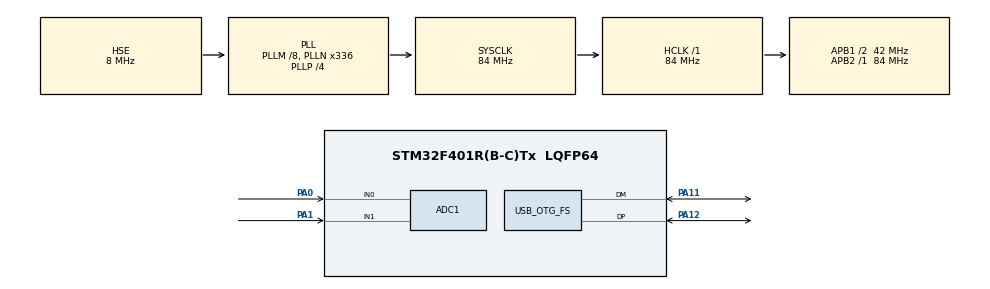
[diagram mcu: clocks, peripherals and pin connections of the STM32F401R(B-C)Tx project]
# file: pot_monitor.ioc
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ADC1.Channel-0\#ChannelRegularConversion=ADC_CHANNEL_0
ADC1.ClockPrescaler=ADC_CLOCK_SYNC_PCLK_DIV8
ADC1.NbrOfConversionFlag=1
ADC1.Rank-0\#ChannelRegularConversion=1
ADC1.SamplingTime-0\#ChannelRegularConversion=ADC_SAMPLETIME_3CYCLES
ADC1.master=1
Mcu.Family=STM32F4
Mcu.Name=STM32F401R(B-C)Tx
Mcu.Package=LQFP64
NVIC.OTG_FS_IRQn=true\:0\:0\:false\:false\:true\:true\:true\:true
NVIC.PriorityGroup=NVIC_PRIORITYGROUP_4
PA0-WKUP.Signal=ADCx_IN0
PA1.Signal=ADCx_IN1
PA11.Mode=Device_Only
PA11.Signal=USB_OTG_FS_DM
PA12.Mode=Device_Only
PA12.Signal=USB_OTG_FS_DP
PH0\ -\ OSC_IN.Mode=HSE-External-Oscillator
PH0\ -\ OSC_IN.Signal=RCC_OSC_IN
PH1\ -\ OSC_OUT.Mode=HSE-External-Oscillator
PH1\ -\ OSC_OUT.Signal=RCC_OSC_OUT
ProjectManager.HeapSize=0x200
ProjectManager.StackSize=0x400
ProjectManager.TargetToolchain=STM32CubeIDE
RCC.48MHZClocksFreq_Value=48000000
RCC.AHBFreq_Value=84000000
RCC.APB1CLKDivider=RCC_HCLK_DIV2
RCC.APB1Freq_Value=42000000
RCC.APB1TimFreq_Value=84000000
RCC.APB2Freq_Value=84000000
RCC.APB2TimFreq_Value=84000000
RCC.CortexFreq_Value=84000000
RCC.HCLKFreq_Value=84000000
RCC.HSE_VALUE=8000000
RCC.HSI_VALUE=16000000
RCC.LSE_VALUE=32768
RCC.PLLM=8
RCC.PLLN=336
RCC.PLLP=RCC_PLLP_DIV4
RCC.PLLQ=7
RCC.SYSCLKFreq_VALUE=84000000
RCC.SYSCLKSource=RCC_SYSCLKSOURCE_PLLCLK
RCC.VCOOutputFreq_Value=336000000
SH.ADCx_IN0.0=ADC1_IN0,IN0
SH.ADCx_IN1.0=ADC1_IN1,IN1
USB_DEVICE.CLASS_NAME_FS=CDC
USB_DEVICE.VirtualMode=Cdc
USB_DEVICE.VirtualModeFS=Cdc_FS
USB_OTG_FS.VirtualMode=Device_Only
VP_USB_DEVICE_VS_USB_DEVICE_CDC_FS.Mode=CDC_FS
board=custom

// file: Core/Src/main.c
/* USER CODE BEGIN Header */
/**
  ******************************************************************************
  * @file           : main.c
  * @brief          : Main program body
  ******************************************************************************
  * @attention
  *
  * Copyright (c) 2026 STMicroelectronics.
  * All rights reserved.
  *
  * This software is licensed under terms that can be found in the LICENSE file
  * in the root directory of this software component.
  * If no LICENSE file comes with this software, it is provided AS-IS.
  *
  ******************************************************************************
  */
/* USER CODE END Header */
#include "main.h"
#include "usb_device.h"

/* USER CODE BEGIN Includes */
#include <stdio.h>
#include <stdarg.h>
#include "usbd_cdc_if.h"
/* USER CODE END Includes */

/* USER CODE BEGIN PD */
#define ADC_MAX_VALUE   4095U   /* 12-bit resolution */
#define VREF_MV         3300U   /* VDDA = 3.3 V */

/* --- 최대/최소 캘리브레이션 (터미널 키: '0'=PA0만, '1'=PA1만, 'c'=둘 다 동시) ---
 *   1구간: 가변저항을 한쪽 끝에 고정 → 구간 평균값
 *   2구간: 반대쪽 끝에 고정        → 구간 평균값
 * 두 값 중 작은 쪽이 min, 큰 쪽이 max. (순서 무관)
 * 'c'(동시)일 때는 두 손잡이를 같은 타이밍에 끝으로 돌려 놓으면 된다.
 * 각 구간 = 제외 시간(손잡이 옮기는 동안, 평균에 안 넣음) + 측정 시간(평균에 넣음).
 */
#define CALIB_SETTLE_MS     2000U   /* 구간 앞부분: 평균에서 제외 (손잡이 이동 시간) */
#define CALIB_MEASURE_MS    5000U   /* 구간 뒷부분: 실제 측정·평균 */
#define CALIB_PHASE_MS      (CALIB_SETTLE_MS + CALIB_MEASURE_MS)   /* 각 구간 총 길이 = 7초 */
#define CALIB_SAMPLE_MS     10U     /* 구간 내 샘플 주기 */
#define CALIB_REPORT_MS     500U    /* 진행 상황 출력 주기 */

/* --- 노이즈 필터 (중앙값3 → EMA) ---
 * 1단: 최근 3샘플의 중앙값 → 단발 스파이크 제거
 * 2단: 1차 저역통과 filt += (med - filt)/8 → 잔노이즈 평활 (실측: σ 5.8 → 약 1.5)
 * 출력의 flt0/flt1이 필터 결과. 반응 속도를 높이려면 SHIFT를 2(=/4)로 낮출 것. */
#define FILT_EMA_SHIFT      6U      /* EMA 분모 = 2^6 = 64. 1kHz 기준 τ≈64ms */

/* --- 클럭 자동 설정 ---
 * 보드 크리스탈(HSE) 주파수를 부팅 시 직접 측정해서 PLL을 맞춘다.
 * 목표: SYSCLK 84 MHz, USB 48 MHz.  (PLLN=336, PLLP=4, PLLQ=7, PLLM=HSE[MHz])
 */
#define TARGET_SYSCLK_HZ    84000000U   /* 현재 84 MHz. 바꿀 때는 아래 조합표 값으로 PLL 두 곳도 함께 */
/* --- 주파수 변경용 유효 조합표 (USB 48 MHz 유지 필수) ---
 * 규칙: SYSCLK = PLLN÷PLLP, USB = PLLN÷PLLQ = 48  (VCO 입력 1 MHz 기준)
 * PLLN/PLLP/PLLQ는 SystemClock_Config_Auto()의 2)블록과 4)블록에 "같은 값"으로 넣을 것.
 *
 *  SYSCLK        TARGET_SYSCLK_HZ    PLLN   PLLP             PLLQ
 *  84 MHz(현재)  84000000U           336    RCC_PLLP_DIV4    7
 *  72 MHz        72000000U           288    RCC_PLLP_DIV4    6
 *  64 MHz        64000000U           384    RCC_PLLP_DIV6    8
 *  60 MHz        60000000U           240    RCC_PLLP_DIV4    5
 *  56 MHz        56000000U           336    RCC_PLLP_DIV6    7
 *  48 MHz        48000000U           192    RCC_PLLP_DIV4    4
 *  42 MHz        42000000U           336    RCC_PLLP_DIV8    7
 *
 * 제약: SYSCLK ≤ 84 MHz, PLLN(=VCO) 192~432 → 위 조합 외 임의 값은 불가.
 * 변경 후: Ctrl+B → flash.bat → 터미널에서 'i' 키로 sysclk 확인.
 */
#define HSE_MEAS_RTCPRE     25U     /* 측정용 분주: HSE_RTC = HSE / 25 */
#define HSE_MEAS_CAPTURES   64U     /* 캡처 횟수 (IC 프리스케일러 8 → 512 에지) */
/* USER CODE END PD */

ADC_HandleTypeDef hadc1;

/* USER CODE BEGIN PV */
/* raw = ADC가 읽은 원시값 (12비트, 0~4095).
 *       핀 전압에 비례: 0 V → 0, 3.3 V → 4095. 가변저항 위치를 나타내는 기본 값.
 * mv  = raw를 사람이 읽기 쉬운 전압 [밀리볼트]로 환산한 값.
 *       mv = raw × 3300 ÷ 4095  (0~3300 mV = 0~3.3 V). 표시용일 뿐 원본은 raw. */
volatile uint16_t adc_raw = 0;      /* PA0 (ADC1_IN0) 원시값, 0 ~ 4095 */
volatile uint32_t adc_mv  = 0;      /* PA0 전압 [mV], 0 ~ 3300 */

volatile uint16_t adc_raw1 = 0;     /* PA1 (ADC1_IN1) 원시값, 0 ~ 4095 — 두 번째 가변저항 */
volatile uint32_t adc_mv1  = 0;     /* PA1 전압 [mV], 0 ~ 3300 */

volatile uint16_t adc_flt  = 0;     /* PA0 필터(중앙값3→EMA) 출력 */
volatile uint16_t adc_flt1 = 0;     /* PA1 필터 출력 */

volatile uint16_t adc_min0    = 0;          /* PA0 캘리브레이션 결과 (calib_done0=1일 때 유효) */
volatile uint16_t adc_max0    = ADC_MAX_VALUE;
volatile uint8_t  calib_done0 = 0;

volatile uint16_t adc_min1    = 0;          /* PA1 캘리브레이션 결과 (calib_done1=1일 때 유효) */
volatile uint16_t adc_max1    = ADC_MAX_VALUE;
volatile uint8_t  calib_done1 = 0;

volatile uint8_t  cdc_last_cmd = 0;         /* 터미널에서 마지막으로 받은 명령 문자 (usbd_cdc_if.c가 씀) */

volatile uint32_t hse_hz_measured = 0;      /* 측정된 HSE 주파수 [Hz], 0이면 HSE 미사용 */
volatile uint8_t  clk_src_is_hse  = 0;      /* 1: PLL 소스 HSE, 0: HSI (USB 불안정 가능) */
static char       tx_buf[128];              /* USB CDC 송신 버퍼 */

extern USBD_HandleTypeDef hUsbDeviceFS;     /* usb_device.c */
/* USER CODE END PV */

void SystemClock_Config(void);
static void MX_GPIO_Init(void);
static void MX_ADC1_Init(void);
/* USER CODE BEGIN PFP */
static uint16_t ADC_ReadChannel(uint32_t channel, uint32_t sampling_time);
static uint16_t Median3(uint16_t a, uint16_t b, uint16_t c);
static uint16_t Filter_Update(uint8_t ch, uint16_t raw);
static void     ADC_AverageFor(uint32_t duration_ms, uint8_t step, uint8_t ch_mask,
                               uint16_t *avg0, uint16_t *avg1);
static void     ADC_Calibrate(uint8_t ch_mask);
static void     CDC_Printf(const char *fmt, ...);
static uint32_t HSE_MeasureHz(void);
static void     SystemClock_Config_Auto(void);
/* USER CODE END PFP */

int main(void)
{

  /* MCU Configuration--------------------------------------------------------*/

  /* Reset of all peripherals, Initializes the Flash interface and the Systick. */
  HAL_Init();

  /* USER CODE BEGIN SysInit */
  /* CubeMX가 생성한 SystemClock_Config()는 호출하지 않고(Project Manager에서 호출 비활성),
   * HSE 주파수를 실측해 PLL을 맞추는 버전을 대신 사용한다. */
  SystemClock_Config_Auto();
  /* USER CODE END SysInit */

  /* Initialize all configured peripherals */
  MX_GPIO_Init();
  MX_ADC1_Init();
  MX_USB_DEVICE_Init();

  /* Infinite loop */
  while (1)
  {

    /* USER CODE BEGIN 3 */
    /* 터미널에서 온 명령 처리 */
    switch (cdc_last_cmd)
    {
      case 'c': case 'C':                   /* 둘 다 동시에 */
        cdc_last_cmd = 0;
        ADC_Calibrate(0x03U);
        break;
      case '0':                             /* PA0만 */
        cdc_last_cmd = 0;
        ADC_Calibrate(0x01U);
        break;
      case '1':                             /* PA1만 */
        cdc_last_cmd = 0;
        ADC_Calibrate(0x02U);
        break;
      case 'i': case 'I':
        cdc_last_cmd = 0;
        CDC_Printf("info: hse=%lu kHz (%s), sysclk=%lu Hz, calib0=%s calib1=%s\r\n",
                   (unsigned long)(hse_hz_measured / 1000U),
                   clk_src_is_hse ? "PLL from HSE" : "PLL from HSI",
                   (unsigned long)SystemCoreClock,
                   calib_done0 ? "done" : "not yet",
                   calib_done1 ? "done" : "not yet");
        break;
      default:
        cdc_last_cmd = 0;
        break;
    }

    adc_raw  = ADC_ReadChannel(ADC_CHANNEL_0, ADC_SAMPLETIME_84CYCLES);  /* PA0: 1번 가변저항 */
    adc_raw1 = ADC_ReadChannel(ADC_CHANNEL_1, ADC_SAMPLETIME_84CYCLES);  /* PA1: 2번 가변저항 */
    adc_flt  = Filter_Update(0U, adc_raw);
    adc_flt1 = Filter_Update(1U, adc_raw1);
    adc_mv   = ((uint32_t)adc_raw  * VREF_MV) / ADC_MAX_VALUE;
    adc_mv1  = ((uint32_t)adc_raw1 * VREF_MV) / ADC_MAX_VALUE;

    /* USB 가상 COM 포트로 출력 (포트가 안 열려 있으면 조용히 건너뜀)
     * min/max는 캘리브레이션 전에는 ---- 로 표시. 키: 0=PA0, 1=PA1, c=둘 다 */
    {
      char s0[48];
      char s1[48];

      if (calib_done0)
      {
        snprintf(s0, sizeof(s0), "raw0=%4u flt0=%4u min0=%4u max0=%4u",
                 (unsigned)adc_raw, (unsigned)adc_flt,
                 (unsigned)adc_min0, (unsigned)adc_max0);
      }
      else
      {
        snprintf(s0, sizeof(s0), "raw0=%4u flt0=%4u min0=---- max0=----",
                 (unsigned)adc_raw, (unsigned)adc_flt);
      }

      if (calib_done1)
      {
        snprintf(s1, sizeof(s1), "raw1=%4u flt1=%4u min1=%4u max1=%4u",
                 (unsigned)adc_raw1, (unsigned)adc_flt1,
                 (unsigned)adc_min1, (unsigned)adc_max1);
      }
      else
      {
        snprintf(s1, sizeof(s1), "raw1=%4u flt1=%4u min1=---- max1=----",
                 (unsigned)adc_raw1, (unsigned)adc_flt1);
      }

      CDC_Printf("%s | %s\r\n", s0, s1);
    }

    /* 1 kHz 페이싱: 다음 1ms 틱까지 대기.
       (HAL_Delay(1)은 틱 반올림 때문에 1~2ms가 걸려 실제로는 ~500Hz밖에 안 나옴) */
    {
      static uint32_t last_tick = 0U;
      while (HAL_GetTick() == last_tick) { }
      last_tick = HAL_GetTick();
    }
  }
  /* USER CODE END 3 */
}

void SystemClock_Config(void)
{
  RCC_OscInitTypeDef RCC_OscInitStruct = {0};
  RCC_ClkInitTypeDef RCC_ClkInitStruct = {0};

  /** Configure the main internal regulator output voltage
  */
  __HAL_RCC_PWR_CLK_ENABLE();
  __HAL_PWR_VOLTAGESCALING_CONFIG(PWR_REGULATOR_VOLTAGE_SCALE2);

  /** Initializes the RCC Oscillators according to the specified parameters
  * in the RCC_OscInitTypeDef structure.
  */
  RCC_OscInitStruct.OscillatorType = RCC_OSCILLATORTYPE_HSE;
  RCC_OscInitStruct.HSEState = RCC_HSE_ON;
  RCC_OscInitStruct.PLL.PLLState = RCC_PLL_ON;
  RCC_OscInitStruct.PLL.PLLSource = RCC_PLLSOURCE_HSE;
  RCC_OscInitStruct.PLL.PLLM = 8;
  RCC_OscInitStruct.PLL.PLLN = 336;
  RCC_OscInitStruct.PLL.PLLP = RCC_PLLP_DIV4;
  RCC_OscInitStruct.PLL.PLLQ = 7;
  if (HAL_RCC_OscConfig(&RCC_OscInitStruct) != HAL_OK)
  {
    Error_Handler();
  }

  /** Initializes the CPU, AHB and APB buses clocks
  */
  RCC_ClkInitStruct.ClockType = RCC_CLOCKTYPE_HCLK|RCC_CLOCKTYPE_SYSCLK
                              |RCC_CLOCKTYPE_PCLK1|RCC_CLOCKTYPE_PCLK2;
  RCC_ClkInitStruct.SYSCLKSource = RCC_SYSCLKSOURCE_PLLCLK;
  RCC_ClkInitStruct.AHBCLKDivider = RCC_SYSCLK_DIV1;
  RCC_ClkInitStruct.APB1CLKDivider = RCC_HCLK_DIV2;
  RCC_ClkInitStruct.APB2CLKDivider = RCC_HCLK_DIV1;

  if (HAL_RCC_ClockConfig(&RCC_ClkInitStruct, FLASH_LATENCY_2) != HAL_OK)
  {
    Error_Handler();
  }
}

static void MX_ADC1_Init(void)
{

  ADC_ChannelConfTypeDef sConfig = {0};

  /** Configure the global features of the ADC (Clock, Resolution, Data Alignment and number of conversion)
  */
  hadc1.Instance = ADC1;
  hadc1.Init.ClockPrescaler = ADC_CLOCK_SYNC_PCLK_DIV8;
  hadc1.Init.Resolution = ADC_RESOLUTION_12B;
  hadc1.Init.ScanConvMode = DISABLE;
  hadc1.Init.ContinuousConvMode = DISABLE;
  hadc1.Init.DiscontinuousConvMode = DISABLE;
  hadc1.Init.ExternalTrigConvEdge = ADC_EXTERNALTRIGCONVEDGE_NONE;
  hadc1.Init.ExternalTrigConv = ADC_SOFTWARE_START;
  hadc1.Init.DataAlign = ADC_DATAALIGN_RIGHT;
  hadc1.Init.NbrOfConversion = 1;
  hadc1.Init.DMAContinuousRequests = DISABLE;
  hadc1.Init.EOCSelection = ADC_EOC_SINGLE_CONV;
  if (HAL_ADC_Init(&hadc1) != HAL_OK)
  {
    Error_Handler();
  }

  /** Configure for the selected ADC regular channel its corresponding rank in the sequencer and its sample time.
  */
  sConfig.Channel = ADC_CHANNEL_0;
  sConfig.Rank = 1;
  sConfig.SamplingTime = ADC_SAMPLETIME_3CYCLES;
  if (HAL_ADC_ConfigChannel(&hadc1, &sConfig) != HAL_OK)
  {
    Error_Handler();
  }

}

static void MX_GPIO_Init(void)
{

  /* GPIO Ports Clock Enable */
  __HAL_RCC_GPIOH_CLK_ENABLE();
  __HAL_RCC_GPIOA_CLK_ENABLE();

}

/* USER CODE BEGIN 4 */
/**
  * @brief  지정한 ADC1 채널을 한 번 변환하여 12비트 결과를 반환한다 (폴링 방식).
  *         채널을 매번 다시 설정하므로 여러 채널을 번갈아 읽을 수 있다.
  * @param  channel        ADC_CHANNEL_0(PA0), ADC_CHANNEL_1(PA1), ...
  * @param  sampling_time  ADC_SAMPLETIME_xCYCLES (채널 전환 시 84 이상 권장)
  * @retval 0 ~ 4095. 실패 시 0.
  */
static uint16_t ADC_ReadChannel(uint32_t channel, uint32_t sampling_time)
{
  ADC_ChannelConfTypeDef sConfig = {0};
  uint16_t value = 0;

  sConfig.Channel      = channel;
  sConfig.Rank         = 1;
  sConfig.SamplingTime = sampling_time;
  if (HAL_ADC_ConfigChannel(&hadc1, &sConfig) != HAL_OK)
  {
    return 0;
  }

  if (HAL_ADC_Start(&hadc1) != HAL_OK)
  {
    return 0;
  }
  if (HAL_ADC_PollForConversion(&hadc1, 10) == HAL_OK)
  {
    value = (uint16_t)HAL_ADC_GetValue(&hadc1);
  }
  HAL_ADC_Stop(&hadc1);
  return value;
}

/**
  * @brief  USB CDC로 printf 형식 출력. 이전 전송이 끝나길 최대 20 ms 기다린 뒤 보낸다.
  *         포트가 열려 있지 않으면(호스트가 읽지 않으면) 조용히 버린다 → 블로킹되지 않음.
  */
static void CDC_Printf(const char *fmt, ...)
{
  USBD_CDC_HandleTypeDef *hcdc = (USBD_CDC_HandleTypeDef *)hUsbDeviceFS.pClassData;
  va_list  ap;
  int      len;
  uint32_t t0;

  if ((hUsbDeviceFS.dev_state != USBD_STATE_CONFIGURED) || (hcdc == NULL))
  {
    return;                                       /* USB 미연결 */
  }

  /* tx_buf는 전송 중 USB 코어가 직접 읽으므로, 이전 전송이 끝난 뒤에만 덮어쓴다 */
  t0 = HAL_GetTick();
  while (hcdc->TxState != 0U)
  {
    if ((HAL_GetTick() - t0) > 20U) { return; }   /* 호스트가 안 읽고 있음 → 이번 줄 포기 */
  }

  va_start(ap, fmt);
  len = vsnprintf(tx_buf, sizeof(tx_buf), fmt, ap);
  va_end(ap);

  if (len > 0)
  {
    if (len > (int)sizeof(tx_buf) - 1) { len = (int)sizeof(tx_buf) - 1; }
    (void)CDC_Transmit_FS((uint8_t *)tx_buf, (uint16_t)len);
  }
}

/**
  * @brief  세 값의 중앙값. 단발성 스파이크 제거용.
  */
static uint16_t Median3(uint16_t a, uint16_t b, uint16_t c)
{
  uint16_t hi = (a > b) ? a : b;
  uint16_t lo = (a < b) ? a : b;
  uint16_t m  = (c < hi) ? c : hi;   /* min(max(a,b), c) */
  return (m > lo) ? m : lo;          /* max(min(a,b), 위 값) = 중앙값 */
}

/**
  * @brief  2단 노이즈 필터: 최근 3샘플 중앙값 → EMA(1/2^FILT_EMA_SHIFT).
  *         채널별(ch 0/1) 상태를 내부에 유지한다. 처음 3샘플은 워밍업으로 그대로 통과.
  * @retval 필터링된 값 (0 ~ 4095)
  */
static uint16_t Filter_Update(uint8_t ch, uint16_t raw)
{
  static uint16_t buf[2][3];
  static uint8_t  pos[2]  = {0, 0};
  static uint8_t  fill[2] = {0, 0};
  static int32_t  acc[2];            /* EMA 누적기 = 출력값 << FILT_EMA_SHIFT */
  uint16_t med;

  buf[ch][pos[ch]] = raw;
  pos[ch] = (uint8_t)((pos[ch] + 1U) % 3U);

  if (fill[ch] < 3U)                 /* 워밍업: 버퍼가 찰 때까지 원본 통과 */
  {
    fill[ch]++;
    acc[ch] = (int32_t)raw << FILT_EMA_SHIFT;
    return raw;
  }

  med = Median3(buf[ch][0], buf[ch][1], buf[ch][2]);
  acc[ch] += (int32_t)med - (acc[ch] >> FILT_EMA_SHIFT);
  return (uint16_t)(acc[ch] >> FILT_EMA_SHIFT);
}

/**
  * @brief  duration_ms 동안 두 채널을 반복 읽어 각각의 평균을 돌려준다.
  *         처음 CALIB_SETTLE_MS 는 손잡이 이동 시간으로 보고 평균에서 제외하며,
  *         CALIB_REPORT_MS 마다 남은 시간과 현재값을 터미널에 출력한다.
  * @param  step     진행 표시용 구간 번호 (1 또는 2)
  * @param  ch_mask  진행 표시용 대상: bit0=PA0, bit1=PA1
  * @param  avg0/avg1  각 채널의 구간 평균값 출력 (0 ~ 4095)
  */
static void ADC_AverageFor(uint32_t duration_ms, uint8_t step, uint8_t ch_mask,
                           uint16_t *avg0, uint16_t *avg1)
{
  uint32_t sum0  = 0;
  uint32_t sum1  = 0;
  uint32_t count = 0;
  uint32_t start = HAL_GetTick();
  uint32_t last_report = 0;
  uint32_t elapsed;

  while ((elapsed = HAL_GetTick() - start) < duration_ms)
  {
    adc_raw  = ADC_ReadChannel(ADC_CHANNEL_0, ADC_SAMPLETIME_84CYCLES);
    adc_raw1 = ADC_ReadChannel(ADC_CHANNEL_1, ADC_SAMPLETIME_84CYCLES);
    adc_mv   = ((uint32_t)adc_raw  * VREF_MV) / ADC_MAX_VALUE;
    adc_mv1  = ((uint32_t)adc_raw1 * VREF_MV) / ADC_MAX_VALUE;

    if (elapsed >= CALIB_SETTLE_MS)
    {
      sum0 += adc_raw;
      sum1 += adc_raw1;
      count++;
    }

    if ((elapsed - last_report) >= CALIB_REPORT_MS)
    {
      uint32_t left = duration_ms - elapsed;
      last_report = elapsed;
      CDC_Printf("CALIB %u/2 [%s]: hold at %s end ... %lu.%lus left  raw0=%4u raw1=%4u%s\r\n",
                 (unsigned)step,
                 (ch_mask == 3U) ? "PA0+PA1" : ((ch_mask == 1U) ? "PA0" : "PA1"),
                 (step == 1U) ? "ONE" : "the OTHER",
                 (unsigned long)(left / 1000U), (unsigned long)((left % 1000U) / 100U),
                 (unsigned)adc_raw, (unsigned)adc_raw1,
                 (elapsed < CALIB_SETTLE_MS) ? "  (settling)" : "");
    }

    HAL_Delay(CALIB_SAMPLE_MS);
  }

  *avg0 = (count > 0U) ? (uint16_t)(sum0 / count) : 0U;
  *avg1 = (count > 0U) ? (uint16_t)(sum1 / count) : 0U;
}

/**
  * @brief  두 구간(각 CALIB_PHASE_MS)의 평균으로 min/max를 결정한다.
  *         1구간과 2구간에 어느 쪽 끝을 잡아도 상관없다 (작은 값이 min).
  * @param  ch_mask  bit0=PA0, bit1=PA1. 3이면 두 채널을 한 번의 절차로 동시에 캘리브레이션.
  */
static void ADC_Calibrate(uint8_t ch_mask)
{
  const char *name = (ch_mask == 3U) ? "PA0+PA1" : ((ch_mask == 1U) ? "PA0" : "PA1");
  uint16_t a0, a1, b0, b1;

  CDC_Printf("CALIB [%s] start: turn the pot(s) to ONE end and hold.\r\n", name);
  ADC_AverageFor(CALIB_PHASE_MS, 1U, ch_mask, &a0, &a1);

  CDC_Printf("CALIB [%s]: now turn to the OTHER end and hold.\r\n", name);
  ADC_AverageFor(CALIB_PHASE_MS, 2U, ch_mask, &b0, &b1);

  if ((ch_mask & 0x01U) != 0U)
  {
    adc_min0 = (a0 < b0) ? a0 : b0;
    adc_max0 = (a0 < b0) ? b0 : a0;
    calib_done0 = 1U;
    CDC_Printf("CALIB done PA0: min=%u  max=%u  (span=%u)\r\n",
               (unsigned)adc_min0, (unsigned)adc_max0, (unsigned)(adc_max0 - adc_min0));
  }
  if ((ch_mask & 0x02U) != 0U)
  {
    adc_min1 = (a1 < b1) ? a1 : b1;
    adc_max1 = (a1 < b1) ? b1 : a1;
    calib_done1 = 1U;
    CDC_Printf("CALIB done PA1: min=%u  max=%u  (span=%u)\r\n",
               (unsigned)adc_min1, (unsigned)adc_max1, (unsigned)(adc_max1 - adc_min1));
  }
}

/**
  * @brief  TIM11 입력 캡처로 HSE 주파수를 측정한다.
  *         TIM11_OR.TI1_RMP=10 이면 CH1 입력에 HSE_RTC(= HSE / RTCPRE)가 내부 연결된다(측정 용도, RM0368).
  *         호출 전 조건: HSE 기동 완료, APB2 프리스케일러 1 (타이머 클럭 = PCLK2).
  * @retval 측정된 HSE 주파수 [Hz]. 실패 시 0.
  */
static uint32_t HSE_MeasureHz(void)
{
  uint32_t f_tim = HAL_RCC_GetPCLK2Freq();          /* APB2 presc=1 → TIM11 클럭 */
  uint32_t ticks = 0U;
  uint16_t prev;
  uint32_t t0;

  /* HSE_RTC = HSE / RTCPRE  (RTC 자체는 켜지 않으므로 백업 도메인 접근 불필요) */
  MODIFY_REG(RCC->CFGR, RCC_CFGR_RTCPRE, HSE_MEAS_RTCPRE << RCC_CFGR_RTCPRE_Pos);

  __HAL_RCC_TIM11_CLK_ENABLE();
  TIM11->CR1   = 0U;
  TIM11->PSC   = 0U;
  TIM11->ARR   = 0xFFFFU;
  TIM11->OR    = TIM_OR_TI1_RMP_1;                       /* TI1 ← HSE_RTC */
  TIM11->CCMR1 = TIM_CCMR1_CC1S_0 | TIM_CCMR1_IC1PSC;    /* CC1 입력(TI1), 8 에지마다 1회 캡처 */
  TIM11->CCER  = TIM_CCER_CC1E;                          /* 상승 에지 */
  TIM11->EGR   = TIM_EGR_UG;
  TIM11->SR    = 0U;
  TIM11->CR1   = TIM_CR1_CEN;

  t0 = HAL_GetTick();
  while ((TIM11->SR & TIM_SR_CC1IF) == 0U)
  {
    if ((HAL_GetTick() - t0) > 50U) { goto fail; }
  }
  prev = (uint16_t)TIM11->CCR1;                          /* CCR1 읽기 → CC1IF 클리어 */

  for (uint32_t i = 0U; i < HSE_MEAS_CAPTURES; i++)
  {
    while ((TIM11->SR & TIM_SR_CC1IF) == 0U)
    {
      if ((HAL_GetTick() - t0) > 50U) { goto fail; }
    }
    uint16_t now = (uint16_t)TIM11->CCR1;
    ticks += (uint16_t)(now - prev);                     /* 16비트 랩어라운드 안전 */
    prev = now;
  }

  TIM11->CR1 = 0U;
  __HAL_RCC_TIM11_CLK_DISABLE();

  if (ticks == 0U) { return 0U; }
  {
    /* f_in = edges * f_tim / ticks,  HSE = f_in * RTCPRE */
    uint64_t edges = (uint64_t)HSE_MEAS_CAPTURES * 8U;
    uint64_t hz    = (edges * (uint64_t)f_tim * HSE_MEAS_RTCPRE) / ticks;
    return (uint32_t)hz;
  }

fail:
  TIM11->CR1 = 0U;
  __HAL_RCC_TIM11_CLK_DISABLE();
  return 0U;
}

/**
  * @brief  HSE 주파수를 실측해 PLL을 자동 설정한다. 결과: SYSCLK 84 MHz, USB 48 MHz.
  *         순서: HSE 기동 → HSI-PLL 84 MHz 기동(측정용) → HSE 측정 → HSE-PLL로 교체.
  *         HSE가 없거나 측정 실패 시 HSI-PLL 84 MHz 유지 (USB는 정밀도 부족으로 불안정할 수 있음).
  */
static void SystemClock_Config_Auto(void)
{
  RCC_OscInitTypeDef osc = {0};
  RCC_ClkInitTypeDef clk = {0};
  uint8_t  hse_ok;
  uint32_t mhz;

  __HAL_RCC_PWR_CLK_ENABLE();
  __HAL_PWR_VOLTAGESCALING_CONFIG(PWR_REGULATOR_VOLTAGE_SCALE2);

  /* 1) HSE 기동 시도 (크리스탈이 없으면 타임아웃 → hse_ok = 0) */
  osc.OscillatorType = RCC_OSCILLATORTYPE_HSE;
  osc.HSEState       = RCC_HSE_ON;
  osc.PLL.PLLState   = RCC_PLL_NONE;
  hse_ok = (HAL_RCC_OscConfig(&osc) == HAL_OK) ? 1U : 0U;

  /* 2) HSI 기반 PLL로 먼저 84 MHz 기동 (16/16*336/4 = 84, /7 = 48) */
  osc.OscillatorType      = RCC_OSCILLATORTYPE_HSI;
  osc.HSIState            = RCC_HSI_ON;
  osc.HSICalibrationValue = RCC_HSICALIBRATION_DEFAULT;
  osc.PLL.PLLState        = RCC_PLL_ON;
  osc.PLL.PLLSource       = RCC_PLLSOURCE_HSI;
  osc.PLL.PLLM            = 16;             /* 그대로 (HSI 16 MHz ÷ 16 = VCO 입력 1 MHz) */
  osc.PLL.PLLN            = 336;            /* SYSCLK = N÷P = 336÷4 = 84 MHz */
  osc.PLL.PLLP            = RCC_PLLP_DIV4;
  osc.PLL.PLLQ            = 7;              /* USB = N÷Q = 336÷7 = 48 MHz (필수) */
  if (HAL_RCC_OscConfig(&osc) != HAL_OK) { Error_Handler(); }

  clk.ClockType      = RCC_CLOCKTYPE_HCLK | RCC_CLOCKTYPE_SYSCLK
                     | RCC_CLOCKTYPE_PCLK1 | RCC_CLOCKTYPE_PCLK2;
  clk.SYSCLKSource   = RCC_SYSCLKSOURCE_PLLCLK;
  clk.AHBCLKDivider  = RCC_SYSCLK_DIV1;
  clk.APB1CLKDivider = RCC_HCLK_DIV2;
  clk.APB2CLKDivider = RCC_HCLK_DIV1;
  if (HAL_RCC_ClockConfig(&clk, FLASH_LATENCY_2) != HAL_OK) { Error_Handler(); }

  if (hse_ok == 0U) { return; }                          /* HSE 없음 → HSI-PLL 유지 */

  /* 3) HSE 실측 → 정수 MHz 반올림 (HSI ±1% 오차로도 4~26 MHz 구분 충분) */
  hse_hz_measured = HSE_MeasureHz();
  mhz = (hse_hz_measured + 500000U) / 1000000U;
  if ((mhz < 4U) || (mhz > 26U))
  {
    hse_hz_measured = 0U;                                /* 측정 실패 → HSI-PLL 유지 */
    return;
  }

  /* 4) PLL 소스를 HSE로 교체: SYSCLK를 잠시 HSI로 돌린 뒤 PLL 재설정 */
  clk.ClockType    = RCC_CLOCKTYPE_SYSCLK;
  clk.SYSCLKSource = RCC_SYSCLKSOURCE_HSI;
  if (HAL_RCC_ClockConfig(&clk, FLASH_LATENCY_2) != HAL_OK) { Error_Handler(); }

  osc.OscillatorType = RCC_OSCILLATORTYPE_HSE;
  osc.HSEState       = RCC_HSE_ON;
  osc.PLL.PLLState   = RCC_PLL_ON;
  osc.PLL.PLLSource  = RCC_PLLSOURCE_HSE;
  osc.PLL.PLLM       = mhz;                              /* 그대로 (실측 크리스탈 MHz → VCO 입력 1 MHz) */
  osc.PLL.PLLN       = 336;                              /* 84 MHz — 위 2)블록과 반드시 같은 값 */
  osc.PLL.PLLP       = RCC_PLLP_DIV4;
  osc.PLL.PLLQ       = 7;                                /* USB 48 MHz */
  if (HAL_RCC_OscConfig(&osc) != HAL_OK) { Error_Handler(); }

  clk.ClockType      = RCC_CLOCKTYPE_HCLK | RCC_CLOCKTYPE_SYSCLK
                     | RCC_CLOCKTYPE_PCLK1 | RCC_CLOCKTYPE_PCLK2;
  clk.SYSCLKSource   = RCC_SYSCLKSOURCE_PLLCLK;
  clk.AHBCLKDivider  = RCC_SYSCLK_DIV1;
  clk.APB1CLKDivider = RCC_HCLK_DIV2;
  clk.APB2CLKDivider = RCC_HCLK_DIV1;
  if (HAL_RCC_ClockConfig(&clk, FLASH_LATENCY_2) != HAL_OK) { Error_Handler(); }

  /* HAL은 컴파일 타임 상수 HSE_VALUE(hal_conf.h, 8 MHz)로 SystemCoreClock을 계산하므로
   * 실제 크리스탈이 8 MHz가 아니면 틀린다. 목표값으로 보정하고 SysTick을 다시 맞춘다. */
  SystemCoreClock = TARGET_SYSCLK_HZ;
  HAL_InitTick(TICK_INT_PRIORITY);
  clk_src_is_hse = 1U;
}
/* USER CODE END 4 */

void Error_Handler(void)
{
  __disable_irq();
  while (1)
  {
  }
}
